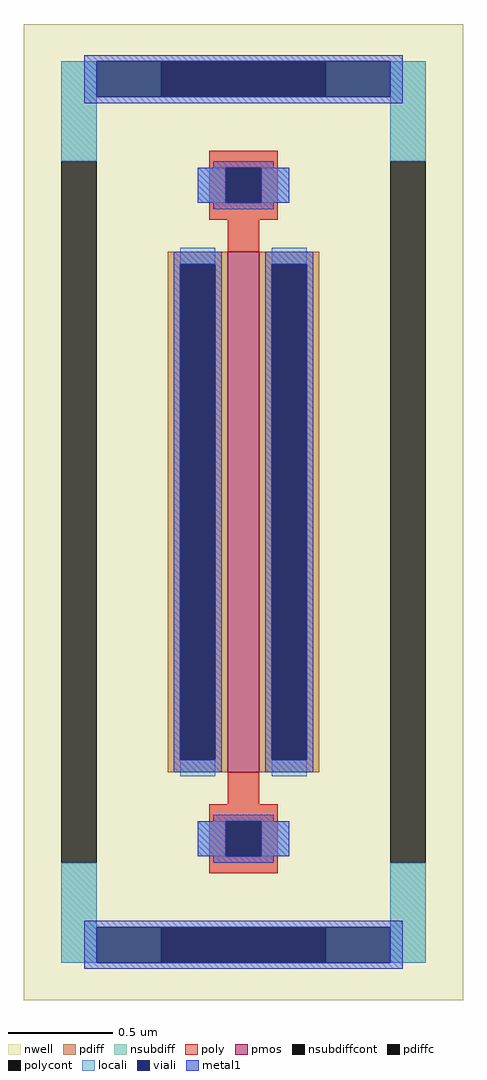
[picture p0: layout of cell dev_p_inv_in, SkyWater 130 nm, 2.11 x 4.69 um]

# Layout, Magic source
magic
tech sky130A
magscale 1 2
<< nwell >>
rect -211 -469 211 469
<< pmos >>
rect -15 -250 15 250
<< pdiff >>
rect -73 238 -15 250
rect -73 -238 -61 238
rect -27 -238 -15 238
rect -73 -250 -15 -238
rect 15 238 73 250
rect 15 -238 27 238
rect 61 -238 73 238
rect 15 -250 73 -238
<< pdiffc >>
rect -61 -238 -27 238
rect 27 -238 61 238
<< nsubdiff >>
rect -175 399 -79 433
rect 79 399 175 433
rect -175 337 -141 399
rect 141 337 175 399
rect -175 -399 -141 -337
rect 141 -399 175 -337
rect -175 -433 -79 -399
rect 79 -433 175 -399
<< nsubdiffcont >>
rect -79 399 79 433
rect -175 -337 -141 337
rect 141 -337 175 337
rect -79 -433 79 -399
<< poly >>
rect -33 331 33 347
rect -33 297 -17 331
rect 17 297 33 331
rect -33 281 33 297
rect -15 250 15 281
rect -15 -281 15 -250
rect -33 -297 33 -281
rect -33 -331 -17 -297
rect 17 -331 33 -297
rect -33 -347 33 -331
<< polycont >>
rect -17 297 17 331
rect -17 -331 17 -297
<< locali >>
rect -175 337 -141 433
rect 141 337 175 433
rect -44 297 -17 331
rect 17 297 44 331
rect -61 238 -27 254
rect -61 -254 -27 -238
rect 27 238 61 254
rect 27 -254 61 -238
rect -44 -331 -17 -297
rect 17 -331 44 -297
rect -175 -433 -141 -337
rect 141 -433 175 -337
<< viali >>
rect -141 399 -79 433
rect -79 399 79 433
rect 79 399 141 433
rect -17 297 17 331
rect -61 -238 -27 238
rect 27 -238 61 238
rect -17 -331 17 -297
rect -141 -433 -79 -399
rect -79 -433 79 -399
rect 79 -433 141 -399
<< metal1 >>
rect -153 433 153 439
rect -153 399 -141 433
rect 141 399 153 433
rect -153 393 153 399
rect -29 331 29 337
rect -44 297 -17 331
rect 17 297 44 331
rect -29 291 29 297
rect -67 238 -21 250
rect -67 -238 -61 238
rect -27 -238 -21 238
rect -67 -250 -21 -238
rect 21 238 67 250
rect 21 -238 27 238
rect 61 -238 67 238
rect 21 -250 67 -238
rect -29 -297 29 -291
rect -44 -331 -17 -297
rect 17 -331 44 -297
rect -29 -337 29 -331
rect -153 -399 153 -393
rect -153 -433 -141 -399
rect 141 -433 153 -399
rect -153 -439 153 -433
<< properties >>
string FIXED_BBOX -158 -416 158 416
<< end >>
